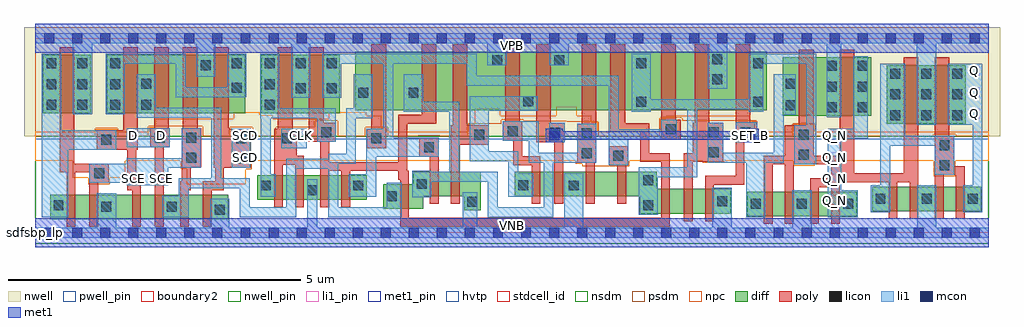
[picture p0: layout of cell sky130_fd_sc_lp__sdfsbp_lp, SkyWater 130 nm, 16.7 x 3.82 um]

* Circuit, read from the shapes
.subckt sky130_fd_sc_lp__sdfsbp_lp CLK D Q Q_N SCD SCE SET_B VGND VNB VPB VPWR
XM1 n1 SCE n2 VNB sky130_fd_pr__nfet_01v8 w=0.42 l=0.15
XM2 VGND SCE n1 VNB sky130_fd_pr__nfet_01v8 w=0.42 l=0.15
XM3 n3 n2 VGND VNB sky130_fd_pr__nfet_01v8 w=0.42 l=0.15
XM4 n4 D n3 VNB sky130_fd_pr__nfet_01v8 w=0.42 l=0.15
XM5 n5 SCE n4 VNB sky130_fd_pr__nfet_01v8 w=0.42 l=0.15
XM6 VGND SCD n5 VNB sky130_fd_pr__nfet_01v8 w=0.42 l=0.15
XM7 n6 CLK n7 VNB sky130_fd_pr__nfet_01v8 w=0.42 l=0.15
XM8 VGND CLK n6 VNB sky130_fd_pr__nfet_01v8 w=0.42 l=0.15
XM9 n8 n7 VGND VNB sky130_fd_pr__nfet_01v8 w=0.42 l=0.15
XM10 n9 n7 n8 VNB sky130_fd_pr__nfet_01v8 w=0.42 l=0.15
XM11 n10 n7 n4 VNB sky130_fd_pr__nfet_01v8 w=0.42 l=0.15
XM12 n11 n9 n10 VNB sky130_fd_pr__nfet_01v8 w=0.42 l=0.15
XM13 VGND n12 n11 VNB sky130_fd_pr__nfet_01v8 w=0.42 l=0.15
XM14 n13 n10 n12 VNB sky130_fd_pr__nfet_01v8 w=0.42 l=0.15
XM15 VGND SET_B n13 VNB sky130_fd_pr__nfet_01v8 w=0.42 l=0.15
XM16 n14 n10 VGND VNB sky130_fd_pr__nfet_01v8 w=0.42 l=0.15
XM17 n15 n9 n14 VNB sky130_fd_pr__nfet_01v8 w=0.42 l=0.15
XM18 n16 n7 n15 VNB sky130_fd_pr__nfet_01v8 w=0.42 l=0.15
XM19 n17 n18 n16 VNB sky130_fd_pr__nfet_01v8 w=0.42 l=0.15
XM20 VGND SET_B n17 VNB sky130_fd_pr__nfet_01v8 w=0.42 l=0.15
XM21 n19 n15 n18 VNB sky130_fd_pr__nfet_01v8 w=0.42 l=0.15
XM22 VGND n15 n19 VNB sky130_fd_pr__nfet_01v8 w=0.42 l=0.15
XM23 n20 n15 VGND VNB sky130_fd_pr__nfet_01v8 w=0.42 l=0.15
XM24 Q_N n15 n20 VNB sky130_fd_pr__nfet_01v8 w=0.42 l=0.15
XM25 n21 n15 n22 VNB sky130_fd_pr__nfet_01v8 w=0.42 l=0.15
XM26 VGND n15 n21 VNB sky130_fd_pr__nfet_01v8 w=0.42 l=0.15
XM27 n23 n22 VGND VNB sky130_fd_pr__nfet_01v8 w=0.42 l=0.15
XM28 Q n22 n23 VNB sky130_fd_pr__nfet_01v8 w=0.42 l=0.15
XM29 VPWR SCE n2 VPB sky130_fd_pr__pfet_01v8_hvt w=1 l=0.25
XM30 n4 n2 n24 VPB sky130_fd_pr__pfet_01v8_hvt w=1 l=0.25
XM31 n25 D n4 VPB sky130_fd_pr__pfet_01v8_hvt w=1 l=0.25
XM32 VPWR SCE n25 VPB sky130_fd_pr__pfet_01v8_hvt w=1 l=0.25
XM33 n24 SCD VPWR VPB sky130_fd_pr__pfet_01v8_hvt w=1 l=0.25
XM34 VPWR CLK n7 VPB sky130_fd_pr__pfet_01v8_hvt w=1 l=0.25
XM35 n9 n7 VPWR VPB sky130_fd_pr__pfet_01v8_hvt w=1 l=0.25
XM36 n10 n9 n4 VPB sky130_fd_pr__pfet_01v8_hvt w=1 l=0.25
XM37 n26 n7 n10 VPB sky130_fd_pr__pfet_01v8_hvt w=1 l=0.25
XM38 VPWR n12 n26 VPB sky130_fd_pr__pfet_01v8_hvt w=1 l=0.25
XM39 n12 n10 VPWR VPB sky130_fd_pr__pfet_01v8_hvt w=1 l=0.25
XM40 VPWR SET_B n12 VPB sky130_fd_pr__pfet_01v8_hvt w=1 l=0.25
XM41 n27 n10 VPWR VPB sky130_fd_pr__pfet_01v8_hvt w=1 l=0.25
XM42 n15 n7 n27 VPB sky130_fd_pr__pfet_01v8_hvt w=1 l=0.25
XM43 n28 n9 n15 VPB sky130_fd_pr__pfet_01v8_hvt w=1 l=0.25
XM44 VPWR n18 n28 VPB sky130_fd_pr__pfet_01v8_hvt w=1 l=0.25
XM45 n15 SET_B VPWR VPB sky130_fd_pr__pfet_01v8_hvt w=1 l=0.25
XM46 VPWR n15 n18 VPB sky130_fd_pr__pfet_01v8_hvt w=1 l=0.25
XM47 Q_N n15 VPWR VPB sky130_fd_pr__pfet_01v8_hvt w=1 l=0.25
XM48 VPWR n15 n22 VPB sky130_fd_pr__pfet_01v8_hvt w=1 l=0.25
XM49 Q n22 VPWR VPB sky130_fd_pr__pfet_01v8_hvt w=1 l=0.25
.ends

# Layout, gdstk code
import gdstk
lib = gdstk.Library(unit=1e-6, precision=1e-09)
def R(c, l, rs):  # rectangles x0, y0, x1, y1
    for r in rs: c.add(gdstk.rectangle(r[:2], r[2:], *l))
def A(c, l, x, y, w, h, nx, ny, dx, dy):  # array of equal rectangles
    R(c, l, [(x+i*dx, y+j*dy, x+i*dx+w, y+j*dy+h) for i in range(nx) for j in range(ny)])
def P(c, l, *ps):  # polygons
    for p in ps: c.add(gdstk.Polygon(p, *l))
nwell_pin = (64, 16)
nwell = (64, 20)
diff = (65, 20)
poly = (66, 20)
licon = (66, 44)
li1_pin = (67, 16)
li1 = (67, 20)
mcon = (67, 44)
met1_pin = (68, 16)
met1 = (68, 20)
hvtp = (78, 44)
stdcell_id = (81, 4)
nsdm = (93, 44)
psdm = (94, 20)
npc = (95, 20)
pwell_pin = (122, 16)
boundary2 = (236, 0)

sky130_fd_sc_lp__sdfsbp_ = lib.new_cell('sky130_fd_sc_lp__sdfsbp_lp')
R(sky130_fd_sc_lp__sdfsbp_, nwell_pin, [(0,3.085,16.32,3.33)])
R(sky130_fd_sc_lp__sdfsbp_, nwell, [(-0.19,1.655,16.51,3.52)])
R(sky130_fd_sc_lp__sdfsbp_, diff, [(0.255,0.235,3.305,0.655), (12.185,0.285,14.055,0.705), (14.325,0.37,16.185,0.79), (3.805,0.565,5.675,0.985), (14.575,1.87,15.925,2.87), (12.79,2,14.305,3), (0.135,2.045,0.955,3.045), (1.225,2.045,3.595,3.045), (3.87,2.045,5.21,3.045), (5.48,2.095,12.52,3.095)])
P(sky130_fd_sc_lp__sdfsbp_, diff, [(7.625,1.045),(6.47,1.045),(6.47,0.835),(5.96,0.835),(5.96,0.415),(6.645,0.415),(6.645,0.625),(7.34,0.625),(7.34,0.385),(7.625,0.385)],
  [(11.9,0.75),(10.635,0.75),(10.635,1.045),(8.21,1.045),(8.21,0.625),(10.345,0.625),(10.345,0.33),(11.9,0.33)])
P(sky130_fd_sc_lp__sdfsbp_, poly, [(8.645,1.31),(8.335,1.31),(8.335,1.905),(8.295,1.905),(8.295,3.225),(8.045,3.225),(8.045,1.905),(8.005,1.905),(8.005,1.575),(8.185,1.575),(8.185,1.16),(8.495,1.16),(8.495,0.495),(8.645,0.495)],
  [(1.26,1.185),(0.67,1.185),(0.67,3.175),(0.42,3.175),(0.42,1.035),(0.54,1.035),(0.54,0.105),(0.69,0.105),(0.69,1.035),(0.93,1.035),(0.93,0.105),(1.08,0.105),(1.08,0.855),(1.26,0.855)],
  [(1.81,0.88),(1.73,0.88),(1.73,1.425),(1.76,1.425),(1.76,3.175),(1.51,3.175),(1.51,1.755),(1.055,1.755),(1.055,1.425),(1.58,1.425),(1.58,0.73),(1.66,0.73),(1.66,0.105),(1.81,0.105)],
  [(2.3,1.79),(2.29,1.79),(2.29,3.175),(2.04,3.175),(2.04,1.79),(1.97,1.79),(1.97,1.46),(2.05,1.46),(2.05,0.105),(2.2,0.105),(2.2,1.46),(2.3,1.46)],
  [(2.84,1.79),(2.78,1.79),(2.78,3.175),(2.53,3.175),(2.53,1.79),(2.51,1.79),(2.51,0.88),(2.48,0.88),(2.48,0.105),(2.63,0.105),(2.63,0.73),(2.66,0.73),(2.66,1.12),(2.84,1.12)],
  [(3.69,1.78),(3.31,1.78),(3.31,3.175),(3.06,3.175),(3.06,1.11),(3.08,1.11),(3.08,0.88),(2.87,0.88),(2.87,0.105),(3.02,0.105),(3.02,0.73),(3.23,0.73),(3.23,1.11),(3.69,1.11)],
  [(4.6,1.315),(4.475,1.315),(4.475,1.78),(4.405,1.78),(4.405,3.175),(4.155,3.175),(4.155,1.78),(4.09,1.78),(4.09,0.435),(4.24,0.435),(4.24,1.165),(4.45,1.165),(4.45,0.435),(4.6,0.435)],
  [(6.005,3.225),(5.755,3.225),(5.755,1.78),(5.675,1.78),(5.675,1.45),(6.005,1.45)],
  [(6.905,1.63),(6.575,1.63),(6.575,1.3),(6.755,1.3),(6.755,0.495),(6.905,0.495)],
  [(15.115,1.015),(15.11,1.015),(15.11,3),(14.86,3),(14.86,1.015),(14.02,1.015),(14.02,3.13),(13.77,3.13),(13.77,1.32),(13.32,1.32),(13.32,3.13),(13.07,3.13),(13.07,1.84),(12.83,1.84),(12.83,1.32),(12.47,1.32),(12.47,0.155),(12.62,0.155),(12.62,1.17),(12.83,1.17),(12.83,0.155),(12.98,0.155),(12.98,1.17),(13.62,1.17),(13.62,0.93),(13.26,0.93),(13.26,0.155),(13.41,0.155),(13.41,0.78),(13.62,0.78),(13.62,0.155),(13.77,0.155),(13.77,0.865),(14.605,0.865),(14.605,0.24),(14.755,0.24),(14.755,0.865),(14.965,0.865),(14.965,0.24),(15.115,0.24)],
  [(7.765,1.84),(7.395,1.84),(7.395,3.225),(7.145,3.225),(7.145,1.84),(7.115,1.84),(7.115,0.495),(7.265,0.495),(7.265,1.51),(7.765,1.51)],
  [(15.905,1.14),(15.725,1.14),(15.725,1.66),(15.64,1.66),(15.64,3),(15.39,3),(15.39,1.66),(15.395,1.66),(15.395,0.24),(15.545,0.24),(15.545,0.99),(15.755,0.99),(15.755,0.24),(15.905,0.24)],
  [(9.605,3.225),(9.355,3.225),(9.355,1.87),(9.275,1.87),(9.275,1.2),(9.425,1.2),(9.425,0.495),(9.575,0.495),(9.575,1.2),(9.605,1.2)],
  [(10.145,1.485),(9.815,1.485),(9.815,1.155),(9.965,1.155),(9.965,0.495),(10.115,0.495),(10.115,1.155),(10.145,1.155)],
  [(10.86,1.365),(10.505,1.365),(10.505,1.875),(10.095,1.875),(10.095,3.225),(9.845,3.225),(9.845,1.725),(10.355,1.725),(10.355,1.215),(10.71,1.215),(10.71,0.255),(6.395,0.255),(6.395,1.06),(6.365,1.06),(6.365,1.87),(6.865,1.87),(6.865,3.225),(6.615,3.225),(6.615,2.02),(6.215,2.02),(6.215,1.21),(5.03,1.21),(5.03,1.555),(5.145,1.555),(5.145,1.885),(4.935,1.885),(4.935,3.175),(4.685,3.175),(4.685,1.555),(4.88,1.555),(4.88,0.435),(5.03,0.435),(5.03,1.06),(5.24,1.06),(5.24,0.435),(5.39,0.435),(5.39,1.06),(6.215,1.06),(6.215,0.91),(6.245,0.91),(6.245,0.105),(10.86,0.105)],
  [(11.045,1.935),(10.965,1.935),(10.965,3.225),(10.715,3.225),(10.715,1.605),(11.045,1.605)],
  [(11.775,1.885),(11.535,1.885),(11.535,3.225),(11.285,3.225),(11.285,1.885),(11.255,1.885),(11.255,1.365),(11.1,1.365),(11.1,0.2),(11.25,0.2),(11.25,1.215),(11.775,1.215)],
  [(12.315,1.89),(12.235,1.89),(12.235,3.225),(11.985,3.225),(11.985,0.975),(11.465,0.975),(11.465,0.2),(11.615,0.2),(11.615,0.825),(12.135,0.825),(12.135,1.56),(12.315,1.56)],
  [(9.065,1.88),(8.825,1.88),(8.825,3.225),(8.575,3.225),(8.575,1.55),(8.885,1.55),(8.885,0.495),(9.035,0.495),(9.035,1.55),(9.065,1.55)])
A(sky130_fd_sc_lp__sdfsbp_, licon, 12.245, 0.41, 0.17, 0.17, 3, 1, 0.79, 0)
A(sky130_fd_sc_lp__sdfsbp_, licon, 14.38, 0.495, 0.17, 0.17, 3, 1, 0.79, 0)
A(sky130_fd_sc_lp__sdfsbp_, licon, 14.635, 1.93, 0.17, 0.17, 3, 3, 0.53, 0.355)
A(sky130_fd_sc_lp__sdfsbp_, licon, 13.545, 2.06, 0.17, 0.17, 1, 3, 0, 0.355)
A(sky130_fd_sc_lp__sdfsbp_, licon, 14.075, 2.06, 0.17, 0.17, 1, 3, 0, 0.355)
A(sky130_fd_sc_lp__sdfsbp_, licon, 0.195, 2.105, 0.17, 0.17, 1, 3, 0, 0.355)
A(sky130_fd_sc_lp__sdfsbp_, licon, 0.725, 2.105, 0.17, 0.17, 1, 3, 0, 0.355)
A(sky130_fd_sc_lp__sdfsbp_, licon, 1.285, 2.105, 0.17, 0.17, 1, 3, 0, 0.355)
A(sky130_fd_sc_lp__sdfsbp_, licon, 3.93, 2.815, 0.17, 0.17, 3, 1, 0.53, 0)
R(sky130_fd_sc_lp__sdfsbp_, licon, [(3.075,0.31,3.245,0.48), (1.135,0.36,1.305,0.53), (2.255,0.36,2.425,0.53), (0.315,0.385,0.485,0.555), (10.405,0.39,10.575,0.56), (7.395,0.445,7.565,0.615), (11.67,0.455,11.84,0.625), (6.02,0.54,6.19,0.71), (4.655,0.645,4.825,0.815), (3.865,0.725,4.035,0.895), (5.445,0.725,5.615,0.895), (9.13,0.725,9.3,0.895), (8.27,0.73,8.44,0.9), (6.53,0.75,6.7,0.92), (10.405,0.815,10.575,0.985), (1.01,0.935,1.18,1.105), (15.475,1.07,15.645,1.24), (3.44,1.19,3.61,1.36), (2.59,1.2,2.76,1.37), (9.895,1.235,10.065,1.405), (13.07,1.25,13.24,1.42), (9.355,1.28,9.525,1.45), (11.525,1.295,11.695,1.465), (6.655,1.38,6.825,1.55), (15.475,1.41,15.645,1.58), (1.135,1.505,1.305,1.675), (3.44,1.53,3.61,1.7), (4.225,1.53,4.395,1.7), (5.755,1.53,5.925,1.7), (2.05,1.54,2.22,1.71), (2.59,1.54,2.76,1.71), (7.515,1.59,7.685,1.76), (13.07,1.59,13.24,1.76), (9.355,1.62,9.525,1.79), (8.815,1.63,8.985,1.8), (4.895,1.635,5.065,1.805), (11.525,1.635,11.695,1.805), (12.065,1.64,12.235,1.81), (8.085,1.655,8.255,1.825), (10.795,1.685,10.965,1.855), (12.845,2.1,13.015,2.27), (1.815,2.105,1.985,2.275), (3.93,2.105,4.1,2.275), (10.285,2.155,10.455,2.325), (12.29,2.155,12.46,2.325), (8.35,2.165,8.52,2.335), (5.53,2.31,5.7,2.48), (6.39,2.31,6.56,2.48), (4.46,2.39,4.63,2.56), (4.99,2.39,5.16,2.56), (3.365,2.4,3.535,2.57), (3.93,2.46,4.1,2.63), (1.815,2.465,1.985,2.635), (12.845,2.465,13.015,2.635), (11.59,2.545,11.76,2.715), (2.835,2.78,3.005,2.95), (3.365,2.815,3.535,2.985), (10.285,2.815,10.455,2.985), (12.29,2.815,12.46,2.985), (7.82,2.865,7.99,3.035), (8.88,2.865,9.05,3.035), (11.59,2.885,11.76,3.055)])
A(sky130_fd_sc_lp__sdfsbp_, li1_pin, 13.595, 0.47, 0.17, 0.17, 1, 4, 0, 0.37)
A(sky130_fd_sc_lp__sdfsbp_, li1_pin, 15.995, 1.95, 0.17, 0.17, 1, 3, 0, 0.37)
R(sky130_fd_sc_lp__sdfsbp_, li1_pin, [(1.595,0.84,1.765,1.01), (2.075,0.84,2.245,1.01), (3.515,1.21,3.685,1.38), (1.595,1.58,1.765,1.75), (2.075,1.58,2.245,1.75), (3.515,1.58,3.685,1.75), (4.475,1.58,4.645,1.75)])
R(sky130_fd_sc_lp__sdfsbp_, li1, [(3.365,1.11,3.685,1.78), (4.215,1.45,4.645,1.78), (1.565,1.46,2.3,1.79), (8.795,1.55,9.065,1.88), (11.985,1.55,12.355,1.89)])
P(sky130_fd_sc_lp__sdfsbp_, li1, [(13.545,1.98),(13.545,3.245),(11.84,3.245),(11.84,2.465),(11.51,2.465),(11.51,3.245),(9.13,3.245),(9.13,2.865),(8.8,2.865),(8.8,3.245),(8.07,3.245),(8.07,2.865),(7.74,2.865),(7.74,3.245),(4.71,3.245),(4.71,2.31),(4.38,2.31),(4.38,3.245),(3.085,3.245),(3.085,2.67),(2.755,2.67),(2.755,3.245),(0.975,3.245),(0.975,2.025),(0.645,2.025),(0.645,3.245),(0,3.245),(0,3.415),(16.32,3.415),(16.32,3.245),(15.415,3.245),(15.415,1.85),(15.085,1.85),(15.085,3.245),(13.795,3.245),(13.795,1.98)],
  [(9.05,0.085),(9.05,1.02),(9.38,1.02),(9.38,0.085),(11.59,0.085),(11.59,0.77),(11.92,0.77),(11.92,0.085),(12.955,0.085),(12.955,0.725),(13.285,0.725),(13.285,0.085),(15.09,0.085),(15.09,0.81),(15.42,0.81),(15.42,0.085),(16.32,0.085),(16.32,-0.085),(0,-0.085),(0,0.085),(1.055,0.085),(1.055,0.675),(1.385,0.675),(1.385,0.085),(2.995,0.085),(2.995,0.58),(3.325,0.58),(3.325,0.085),(4.655,0.085),(4.655,0.92),(4.825,0.92),(4.825,0.085),(7.315,0.085),(7.315,0.695),(7.565,0.695),(7.565,0.085)],
  [(5.365,0.615),(5.365,1.005),(5.67,1.005),(5.67,1.78),(5.96,1.78),(5.96,2.895),(5.24,2.895),(5.24,2.31),(4.91,2.31),(4.91,3.065),(7.56,3.065),(7.56,2.685),(9.985,2.685),(9.985,1.775),(10.715,1.775),(10.715,1.935),(10.98,1.935),(10.98,1.605),(10.145,1.605),(10.145,1.155),(9.815,1.155),(9.815,2.515),(7.39,2.515),(7.39,2.895),(6.13,2.895),(6.13,1.63),(6.905,1.63),(6.905,1.3),(5.84,1.3),(5.84,0.615)],
  [(2.455,0.93),(3.015,0.93),(3.015,1.97),(1.735,1.97),(1.735,2.715),(2.065,2.715),(2.065,2.14),(3.185,2.14),(3.185,0.93),(3.675,0.93),(3.675,0.435),(4.295,0.435),(4.295,1.27),(5.015,1.27),(5.015,1.355),(5.32,1.355),(5.32,2.13),(5.45,2.13),(5.45,2.715),(5.78,2.715),(5.78,1.96),(5.49,1.96),(5.49,1.185),(5.185,1.185),(5.185,0.435),(6.02,0.435),(6.02,0.855),(6.27,0.855),(6.27,0.265),(5.015,0.265),(5.015,1.1),(4.465,1.1),(4.465,0.265),(3.505,0.265),(3.505,0.76),(2.625,0.76),(2.625,0.265),(2.175,0.265),(2.175,0.63),(2.455,0.63)],
  [(14.46,2.89),(14.885,2.89),(14.885,1.66),(15.725,1.66),(15.725,0.99),(15.395,0.99),(15.395,1.49),(14.63,1.49),(14.63,0.35),(14.3,0.35),(14.3,0.81),(14.46,0.81)],
  [(8.615,1.37),(9.275,1.37),(9.275,1.87),(9.605,1.87),(9.605,1.2),(8.87,1.2),(8.87,0.265),(7.745,0.265),(7.745,0.875),(6.78,0.875),(6.78,0.605),(6.45,0.605),(6.45,1.065),(6.78,1.065),(6.78,1.045),(7.085,1.045),(7.085,2.075),(6.31,2.075),(6.31,2.715),(6.64,2.715),(6.64,2.245),(7.255,2.245),(7.255,1.045),(7.915,1.045),(7.915,0.435),(8.7,0.435),(8.7,1.2),(8.445,1.2),(8.445,1.575),(8.005,1.575),(8.005,1.905),(8.615,1.905)],
  [(13.195,2.895),(12.46,2.895),(12.46,2.075),(12.21,2.075),(12.21,2.115),(11.33,2.115),(11.33,0.95),(10.655,0.95),(10.655,0.31),(10.325,0.31),(10.325,1.12),(11.16,1.12),(11.16,2.115),(10.535,2.115),(10.535,2.075),(10.205,2.075),(10.205,3.065),(10.535,3.065),(10.535,2.285),(12.21,2.285),(12.21,3.065),(13.365,3.065),(13.365,1.17),(12.99,1.17),(12.99,1.84),(13.195,1.84)],
  [(0.445,1.755),(1.385,1.755),(1.385,1.425),(0.565,1.425),(0.565,0.265),(0.115,0.265),(0.115,3.065),(0.445,3.065)],
  [(3.85,1.96),(3.85,3.065),(4.18,3.065),(4.18,2.13),(5.14,2.13),(5.14,1.555),(4.825,1.555),(4.825,1.96),(4.035,1.96),(4.035,1.005),(4.115,1.005),(4.115,0.615),(3.865,0.615),(3.865,1.96)],
  [(8.6,2.335),(8.6,2.085),(7.765,2.085),(7.765,1.395),(8.265,1.395),(8.265,1.02),(8.52,1.02),(8.52,0.615),(8.095,0.615),(8.095,1.225),(7.435,1.225),(7.435,2.335)],
  [(13.565,0.265),(13.565,1.78),(13.995,1.78),(13.995,3.02),(14.245,3.02),(14.245,1.61),(13.795,1.61),(13.795,0.725),(14.075,0.725),(14.075,0.265)],
  [(16.04,0.81),(16.04,1.85),(15.615,1.85),(15.615,2.89),(16.21,2.89),(16.21,0.35),(15.88,0.35),(15.88,0.81)],
  [(2.51,1.28),(2.51,1.79),(2.835,1.79),(2.835,1.11),(2.275,1.11),(2.275,0.81),(1.565,0.81),(1.565,0.855),(0.93,0.855),(0.93,1.185),(1.565,1.185),(1.565,1.28)],
  [(12.165,0.265),(12.165,1.2),(11.51,1.2),(11.51,1.885),(11.775,1.885),(11.775,1.37),(12.64,1.37),(12.64,2.715),(13.015,2.715),(13.015,2.02),(12.81,2.02),(12.81,1.2),(12.495,1.2),(12.495,0.265)],
  [(2.575,2.49),(3.285,2.49),(3.285,3.065),(3.615,3.065),(3.615,2.32),(2.405,2.32),(2.405,2.895),(1.535,2.895),(1.535,2.025),(1.205,2.025),(1.205,3.065),(2.575,3.065)])
A(sky130_fd_sc_lp__sdfsbp_, mcon, 0.155, -0.085, 0.17, 0.17, 34, 2, 0.48, 3.33)
R(sky130_fd_sc_lp__sdfsbp_, mcon, [(8.795,1.58,8.965,1.75), (12.155,1.58,12.325,1.75)])
R(sky130_fd_sc_lp__sdfsbp_, met1_pin, [(0,0,16.32,0.245), (12.155,1.58,12.325,1.75), (0,3.085,16.32,3.33)])
R(sky130_fd_sc_lp__sdfsbp_, met1, [(0,-0.245,16.32,0.245), (0,3.085,16.32,3.575)])
P(sky130_fd_sc_lp__sdfsbp_, met1, [(9.025,1.735),(12.095,1.735),(12.095,1.78),(12.385,1.78),(12.385,1.55),(12.095,1.55),(12.095,1.595),(9.025,1.595),(9.025,1.55),(8.735,1.55),(8.735,1.78),(9.025,1.78)])
R(sky130_fd_sc_lp__sdfsbp_, hvtp, [(0,1.6,16.32,3.33)])
R(sky130_fd_sc_lp__sdfsbp_, stdcell_id, [(0,0,16.32,3.33)])
R(sky130_fd_sc_lp__sdfsbp_, nsdm, [(0,-0.19,16.32,1.655)])
P(sky130_fd_sc_lp__sdfsbp_, psdm, [(16.32,3.52),(0,3.52),(0,1.655),(1.025,1.655),(1.025,1.785),(1.415,1.785),(1.415,1.655),(1.94,1.655),(1.94,1.82),(2.87,1.82),(2.87,1.655),(3.33,1.655),(3.33,1.81),(3.72,1.81),(3.72,1.655),(4.115,1.655),(4.115,1.81),(4.785,1.81),(4.785,1.915),(5.175,1.915),(5.175,1.655),(5.645,1.655),(5.645,1.81),(6.035,1.81),(6.035,1.655),(6.545,1.655),(6.545,1.66),(6.935,1.66),(6.935,1.655),(7.405,1.655),(7.405,1.87),(7.975,1.87),(7.975,1.935),(8.365,1.935),(8.365,1.91),(9.095,1.91),(9.095,1.9),(9.635,1.9),(9.635,1.655),(10.685,1.655),(10.685,1.965),(11.075,1.965),(11.075,1.915),(11.955,1.915),(11.955,1.92),(12.345,1.92),(12.345,1.655),(12.96,1.655),(12.96,1.87),(13.35,1.87),(13.35,1.655),(15.365,1.655),(15.365,1.69),(15.755,1.69),(15.755,1.655),(16.32,1.655)])
P(sky130_fd_sc_lp__sdfsbp_, npc, [(16.32,1.73),(13.34,1.73),(13.34,1.86),(12.97,1.86),(12.97,1.73),(12.335,1.73),(12.335,1.91),(12.23,1.91),(12.23,2.005),(10.8,2.005),(10.8,1.955),(10.695,1.955),(10.695,1.73),(9.625,1.73),(9.625,1.89),(9.52,1.89),(9.52,2.005),(9.265,2.005),(9.265,2.155),(8.915,2.155),(8.915,2.005),(7.955,2.005),(7.955,2.125),(7.52,2.125),(7.52,1.86),(7.415,1.86),(7.415,1.73),(6.025,1.73),(6.025,1.8),(5.92,1.8),(5.92,2.005),(5.665,2.005),(5.665,2.065),(5.025,2.065),(5.025,1.955),(4.065,1.955),(4.065,2.015),(3.84,2.015),(3.84,2.065),(3.4,2.065),(3.4,1.955),(2.055,1.955),(2.055,1.81),(1.95,1.81),(1.95,1.73),(1.405,1.73),(1.405,1.775),(1.035,1.775),(1.035,1.73),(0,1.73),(0,1.23),(0.645,1.23),(0.645,0.94),(0.91,0.94),(0.91,0.835),(1.28,0.835),(1.28,0.94),(1.545,0.94),(1.545,1.23),(2.49,1.23),(2.49,1.1),(2.595,1.1),(2.595,0.835),(3.605,0.835),(3.605,1.09),(3.71,1.09),(3.71,1.23),(9.255,1.23),(9.255,1.18),(9.36,1.18),(9.36,1.135),(10.165,1.135),(10.165,1.23),(11.425,1.23),(11.425,1.195),(11.795,1.195),(11.795,1.23),(12.97,1.23),(12.97,1.15),(13.34,1.15),(13.34,1.23),(15.375,1.23),(15.375,0.97),(15.745,0.97),(15.745,1.23),(16.32,1.23)])
R(sky130_fd_sc_lp__sdfsbp_, pwell_pin, [(0,0,16.32,0.245)])
R(sky130_fd_sc_lp__sdfsbp_, boundary2, [(0,0,16.32,3.33)])
sky130_fd_sc_lp__sdfsbp_.add(gdstk.Label('VNB', (8.16,0.123), layer=64, texttype=59))
sky130_fd_sc_lp__sdfsbp_.add(gdstk.Label('VPB', (8.16,3.208), layer=64, texttype=5))
sky130_fd_sc_lp__sdfsbp_.add(gdstk.Label('sdfsbp_lp', (0,0), layer=83, texttype=44))
sky130_fd_sc_lp__sdfsbp_.add(gdstk.Label('SET_B', (12.24,1.665), layer=68, texttype=5))
sky130_fd_sc_lp__sdfsbp_.add(gdstk.Label('VPWR', (8.16,3.208), layer=68, texttype=5))
sky130_fd_sc_lp__sdfsbp_.add(gdstk.Label('VGND', (8.16,0.123), layer=68, texttype=5))
sky130_fd_sc_lp__sdfsbp_.add(gdstk.Label('CLK', (4.56,1.665), layer=67, texttype=5))
sky130_fd_sc_lp__sdfsbp_.add(gdstk.Label('SCD', (3.6,1.295), layer=67, texttype=5))
sky130_fd_sc_lp__sdfsbp_.add(gdstk.Label('SCD', (3.6,1.665), layer=67, texttype=5))
sky130_fd_sc_lp__sdfsbp_.add(gdstk.Label('D', (1.68,1.665), layer=67, texttype=5))
sky130_fd_sc_lp__sdfsbp_.add(gdstk.Label('D', (2.16,1.665), layer=67, texttype=5))
sky130_fd_sc_lp__sdfsbp_.add(gdstk.Label('Q_N', (13.68,0.555), layer=67, texttype=5))
sky130_fd_sc_lp__sdfsbp_.add(gdstk.Label('Q_N', (13.68,0.925), layer=67, texttype=5))
sky130_fd_sc_lp__sdfsbp_.add(gdstk.Label('Q_N', (13.68,1.295), layer=67, texttype=5))
sky130_fd_sc_lp__sdfsbp_.add(gdstk.Label('Q_N', (13.68,1.665), layer=67, texttype=5))
sky130_fd_sc_lp__sdfsbp_.add(gdstk.Label('Q', (16.08,2.035), layer=67, texttype=5))
sky130_fd_sc_lp__sdfsbp_.add(gdstk.Label('Q', (16.08,2.405), layer=67, texttype=5))
sky130_fd_sc_lp__sdfsbp_.add(gdstk.Label('Q', (16.08,2.775), layer=67, texttype=5))
sky130_fd_sc_lp__sdfsbp_.add(gdstk.Label('SCE', (1.68,0.925), layer=67, texttype=5))
sky130_fd_sc_lp__sdfsbp_.add(gdstk.Label('SCE', (2.16,0.925), layer=67, texttype=5))

lib.write_gds('sky130_fd_sc_lp__sdfsbp_lp.gds')
